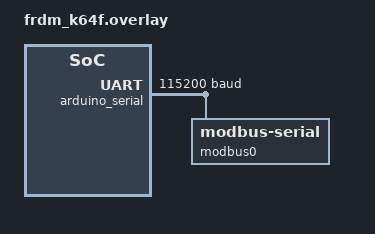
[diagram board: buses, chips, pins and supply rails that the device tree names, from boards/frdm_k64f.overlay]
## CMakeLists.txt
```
# SPDX-License-Identifier: Apache-2.0

cmake_minimum_required(VERSION 3.20.0)

find_package(Zephyr REQUIRED HINTS $ENV{ZEPHYR_BASE})
project(modbus-serial-backend)

target_sources(app PRIVATE src/main.c)
```

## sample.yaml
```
sample:
  name: Modbus TCP to serial line gateway sample
tests:
  sample.modbus.tcp_gateway:
    build_only: true
    platform_allow: frdm_k64f
    tags: modbus
    depends_on:
      - gpio
      - netif
      - arduino_serial
    integration_platforms:
      - frdm_k64f
```

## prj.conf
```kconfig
CONFIG_LOG=y
CONFIG_MAIN_STACK_SIZE=1200
CONFIG_POSIX_API=y

CONFIG_SERIAL=y
CONFIG_UART_INTERRUPT_DRIVEN=y
CONFIG_UART_LINE_CTRL=n

CONFIG_MODBUS=y
CONFIG_MODBUS_ROLE_CLIENT=y
CONFIG_MODBUS_RAW_ADU=y
CONFIG_MODBUS_NUMOF_RAW_ADU=1

# Networking config
CONFIG_NETWORKING=y
CONFIG_NET_IPV4=y
CONFIG_NET_IPV6=n
CONFIG_NET_TCP=y
CONFIG_NET_SOCKETS=y

# Network address config
CONFIG_NET_CONFIG_SETTINGS=y
CONFIG_NET_CONFIG_NEED_IPV4=y
CONFIG_NET_CONFIG_MY_IPV4_ADDR="192.0.2.1"
CONFIG_NET_CONFIG_PEER_IPV4_ADDR="192.0.2.2"
```

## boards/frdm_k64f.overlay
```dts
/*
 * Copyright (c) 2020 Phytec Messtechnik GmbH
 *
 * SPDX-License-Identifier: Apache-2.0
 */

&arduino_serial {
	status = "okay";
	current-speed = <115200>;

	modbus0 {
		compatible = "zephyr,modbus-serial";
		status = "okay";
	};
};
```

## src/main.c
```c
/*
 * Copyright (c) 2020 PHYTEC Messtechnik GmbH
 * Copyright (c) 2021 Nordic Semiconductor ASA
 *
 * SPDX-License-Identifier: Apache-2.0
 */

#include <zephyr/kernel.h>
#include <zephyr/sys/util.h>
#include <zephyr/modbus/modbus.h>
#include <zephyr/net/socket.h>

#include <zephyr/logging/log.h>
LOG_MODULE_REGISTER(tcp_gateway, LOG_LEVEL_INF);

#define MODBUS_TCP_PORT 502

static struct modbus_adu tmp_adu;
static int backend;

const static struct modbus_iface_param backend_param = {
	.mode = MODBUS_MODE_RTU,
	.rx_timeout = 50000,
	.serial = {
		.baud = 19200,
		.parity = UART_CFG_PARITY_NONE,
	},
};

#define MODBUS_NODE DT_COMPAT_GET_ANY_STATUS_OKAY(zephyr_modbus_serial)

static int init_backend_iface(void)
{
	const char bend_name[] = {DEVICE_DT_NAME(MODBUS_NODE)};

	backend = modbus_iface_get_by_name(bend_name);
	if (backend < 0) {
		LOG_ERR("Failed to get iface index for %s",
			bend_name);
		return -ENODEV;
	}

	return modbus_init_client(backend, backend_param);
}

static int modbus_tcp_reply(int client, struct modbus_adu *adu)
{
	uint8_t header[MODBUS_MBAP_AND_FC_LENGTH];

	modbus_raw_put_header(adu, header);
	if (send(client, header, sizeof(header), 0) < 0) {
		return -errno;
	}

	if (send(client, adu->data, adu->length, 0) < 0) {
		return -errno;
	}

	return 0;
}

static int modbus_tcp_connection(int client)
{
	uint8_t header[MODBUS_MBAP_AND_FC_LENGTH];
	int rc;
	int data_len;

	rc = recv(client, header, sizeof(header), MSG_WAITALL);
	if (rc <= 0) {
		return rc == 0 ? -ENOTCONN : -errno;
	}

	LOG_HEXDUMP_DBG(header, sizeof(header), "h:>");
	modbus_raw_get_header(&tmp_adu, header);
	data_len = tmp_adu.length;

	rc = recv(client, tmp_adu.data, data_len, MSG_WAITALL);
	if (rc <= 0) {
		return rc == 0 ? -ENOTCONN : -errno;
	}

	LOG_HEXDUMP_DBG(tmp_adu.data, tmp_adu.length, "d:>");
	rc = modbus_raw_backend_txn(backend, &tmp_adu);
	if (rc == -ENOTSUP || rc == -ENODEV) {
		LOG_WRN("Backend interface error: %d", rc);
	}

	return modbus_tcp_reply(client, &tmp_adu);
}

int main(void)
{
	int serv;
	struct sockaddr_in bind_addr;
	static int counter;

	if (init_backend_iface()) {
		LOG_ERR("Modbus initialization failed");
		return 0;
	}

	serv = socket(AF_INET, SOCK_STREAM, IPPROTO_TCP);

	if (serv < 0) {
		LOG_ERR("error: socket: %d", errno);
		return 0;
	}

	bind_addr.sin_family = AF_INET;
	bind_addr.sin_addr.s_addr = htonl(INADDR_ANY);
	bind_addr.sin_port = htons(MODBUS_TCP_PORT);

	if (bind(serv, (struct sockaddr *)&bind_addr, sizeof(bind_addr)) < 0) {
		LOG_ERR("error: bind: %d", errno);
		return 0;
	}

	if (listen(serv, 5) < 0) {
		LOG_ERR("error: listen: %d", errno);
		return 0;
	}

	LOG_INF("Started MODBUS TCP gateway example on port %d", MODBUS_TCP_PORT);

	while (1) {
		struct sockaddr_in client_addr;
		socklen_t client_addr_len = sizeof(client_addr);
		char addr_str[INET_ADDRSTRLEN];
		int client;
		int rc;

		client = accept(serv, (struct sockaddr *)&client_addr,
				&client_addr_len);

		if (client < 0) {
			LOG_ERR("error: accept: %d", errno);
			continue;
		}

		inet_ntop(client_addr.sin_family, &client_addr.sin_addr,
			  addr_str, sizeof(addr_str));
		LOG_INF("Connection #%d from %s",
			counter++, addr_str);

		do {
			rc = modbus_tcp_connection(client);
		} while (!rc);

		close(client);
		LOG_INF("Connection from %s closed, errno %d",
			addr_str, rc);
	}
	return 0;
}
```
